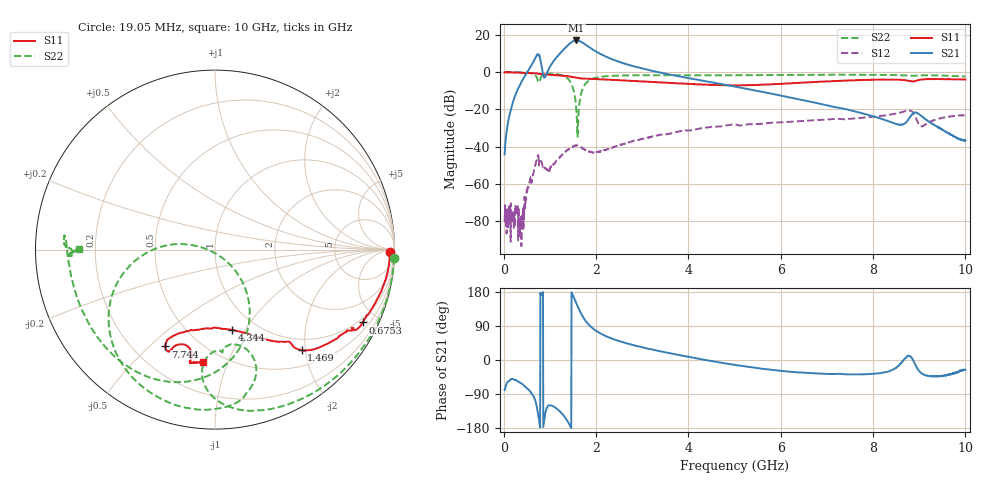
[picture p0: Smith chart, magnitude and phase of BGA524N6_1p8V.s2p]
! (c) 2013 Infineon Technologies AG
! BGA524N6 - SiGe Low Noise Amplifier for Global Navigation Satellite Systems (GNSS)
! 17 Sep. 2013
! Standard Application Board
! C1 = L1 = 0 Ohm
! C2 = 10 nF
! Vcc = 1.8V
! RF input and output lines de-embedded
! Port 1 reference plane: LNA input AI (pin 5)
! Port 2 reference plane: LNA output AO (pin 3)
! Network Data:
! Measured BGA924N6 device level s-parameters
# Hz S dB R 50
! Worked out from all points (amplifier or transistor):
!   1598 points, 19.05 MHz to 10 GHz, reference 50 ohm
!   highest |S21| = 16.9 dB at 1.575 GHz (marker M1)
!   |S21| within 3 dB of that: 1.371 GHz to 1.817 GHz (446.1 MHz wide, 28 % of centre)
!   unconditionally stable (mu >= 1): start of sweep to end of sweep
!   at 1.681 GHz: K = 4.14, MAG = 19.2 dB, |S12| = -40.6 dB
!   at 5.013 GHz: K = 8.29, MAG = -2.0 dB, |S12| = -28.2 dB
!   at 10 GHz: K = 126.63, MAG = -30.8 dB, |S12| = -23.2 dB
!   lowest NFmin = 0.59 dB at 1.55 GHz
!   S11 on the Smith chart (normalised r, x): 19.05 MHz: 61, -34; 675.3 MHz: 0.81, -4.14; 1.469 GHz: 0.78, -1.93; 4.344 GHz: 0.77, -0.88; 7.744 GHz: 0.33, -0.56; 10 GHz: 0.39, -0.82
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1.904944e7  -0.22 -0.8  -44.05 -79.0  -79.77 -55.6  -0.00 -2.5
3.815386e8  -0.44 -15.2  -5.49 -61.5  -93.30 160.3  -0.22 -49.0
5.752828e8  -0.64 -22.6  2.57 -83.2  -57.73 -144.1  -0.60 -73.5
6.752798e8  -0.75 -26.3  7.01 -104.2  -50.45 -157.7  -1.52 -89.2
7.565273e8  -1.13 -29.8  8.76 -151.2  -47.23 129.9  -4.81 -85.9
8.252752e8  -1.27 -31.5  2.02 172.8  -48.63 123.9  -2.09 -74.8
9.252722e8  -1.42 -33.8  -1.16 -128.9  -52.24 134.3  -1.02 -90.7
1.106517e9  -1.69 -38.9  6.73 -124.6  -49.05 161.9  -1.12 -112.0
1.33151e9  -2.14 -45.3  12.87 -152.2  -42.91 155.6  -2.57 -142.0
1.469006e9  -2.63 -49.2  15.96 178.7  -40.16 140.3  -6.56 -170.4
1.575253e9  -3.13 -51.0  16.86 148.9  -39.33 123.4  -20.89 169.6
1.687749e9  -3.51 -51.0  15.99 119.9  -40.48 109.8  -10.57 -53.5
1.843995e9  -3.68 -51.5  13.39 93.0  -42.51 110.8  -4.66 -78.0
2.056488e9  -3.89 -53.5  10.12 72.5  -42.79 124.8  -2.78 -96.9
2.537724e9  -4.47 -58.3  5.10 48.4  -39.07 138.6  -1.91 -118.4
3.3502e9  -5.54 -65.4  -0.14 24.1  -33.82 137.4  -1.76 -139.4
4.34392e9  -6.77 -78.0  -4.83 0.6  -29.99 128.9  -1.79 -160.9
5.01265e9  -7.24 -90.4  -7.87 -12.9  -28.22 118.9  -1.76 -173.1
6.6751e9  -5.46 -115.8  -16.11 -34.9  -25.95 114.3  -1.50 174.6
7.743818e9  -4.34 -117.2  -22.01 -38.1  -24.61 113.6  -1.48 177.0
8.33755e9  -4.09 -114.9  -26.42 -30.2  -22.98 111.7  -1.59 178.7
1e10  -4.00 -96.1  -36.73 -25.5  -23.20 116.4  -2.41 179.9
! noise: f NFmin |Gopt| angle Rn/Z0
1.55e+09  0.5886  0.6172  41.93  0.2402
1.557e+09  0.5898  0.6167  42.11  0.24
1.564e+09  0.591  0.6162  42.28  0.2398
1.571e+09  0.5922  0.6157  42.46  0.2397
1.578e+09  0.5935  0.6152  42.64  0.2395
1.586e+09  0.5949  0.6147  42.84  0.2393
1.593e+09  0.5962  0.6142  43.02  0.2392
1.6e+09  0.5974  0.6137  43.2  0.239
1.607e+09  0.5988  0.6132  43.38  0.2389
1.615e+09  0.6004  0.6127  43.58  0.2388
